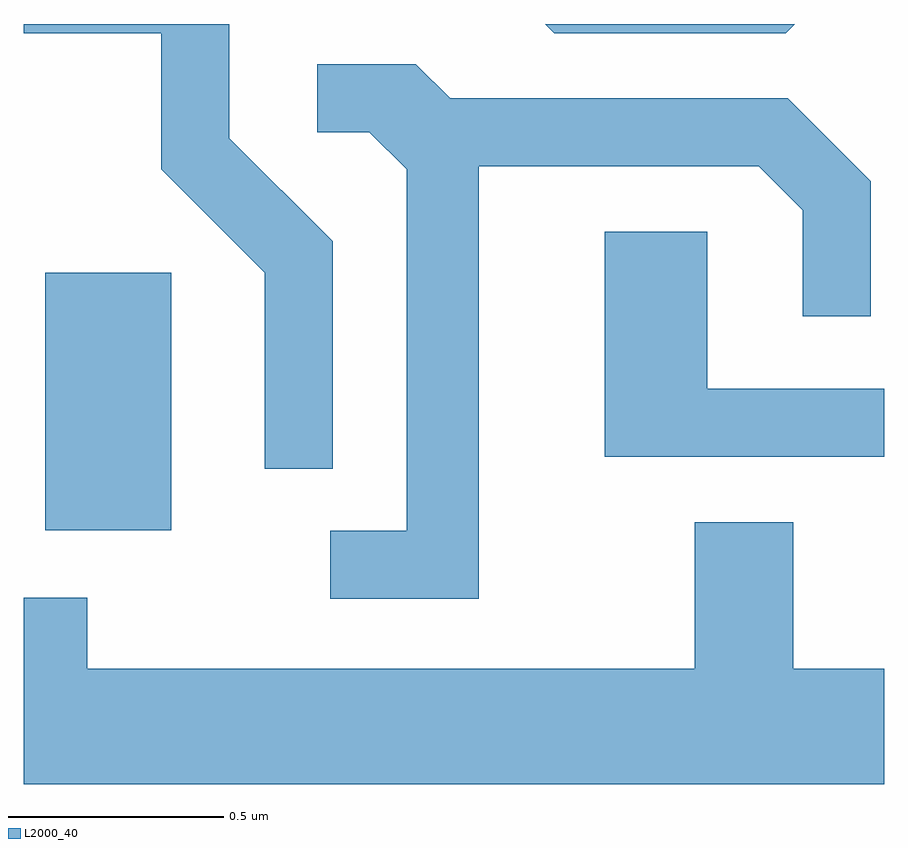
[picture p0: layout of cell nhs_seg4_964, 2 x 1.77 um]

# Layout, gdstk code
import gdstk
lib = gdstk.Library(unit=1e-6, precision=1e-09)
def R(c, l, rs):  # rectangles x0, y0, x1, y1
    for r in rs: c.add(gdstk.rectangle(r[:2], r[2:], *l))
def P(c, l, *ps):  # polygons
    for p in ps: c.add(gdstk.Polygon(p, *l))
L2000_40 = (2000, 40)

nhs_seg4_964 = lib.new_cell('nhs_seg4_964')
R(nhs_seg4_964, L2000_40, [(192.661,1259.806,192.954,1260.404)])
P(nhs_seg4_964, L2000_40, [(193.329,1260.477),(193.089,1260.717),(193.089,1260.982),(192.611,1260.982),(192.611,1260.961),(192.931,1260.961),(192.931,1260.644),(193.171,1260.404),(193.171,1259.948),(193.329,1259.948)],
  [(194.403,1260.982),(193.823,1260.982),(193.844,1260.961),(194.382,1260.961)],
  [(193.669,1260.651),(194.319,1260.651),(194.421,1260.549),(194.421,1260.303),(194.579,1260.303),(194.579,1260.617),(194.387,1260.809),(193.602,1260.809),(193.522,1260.889),(193.293,1260.889),(193.293,1260.731),(193.414,1260.731),(193.501,1260.644),(193.501,1259.804),(193.323,1259.804),(193.323,1259.646),(193.669,1259.646)],
  [(194.611,1260.134),(194.199,1260.134),(194.199,1260.499),(193.961,1260.499),(193.961,1259.976),(194.611,1259.976)],
  [(194.611,1259.484),(194.399,1259.484),(194.399,1259.824),(194.171,1259.824),(194.171,1259.484),(192.759,1259.484),(192.759,1259.649),(192.611,1259.649),(192.611,1259.216),(194.611,1259.216)])

lib.write_gds('nhs_seg4_964.gds')
